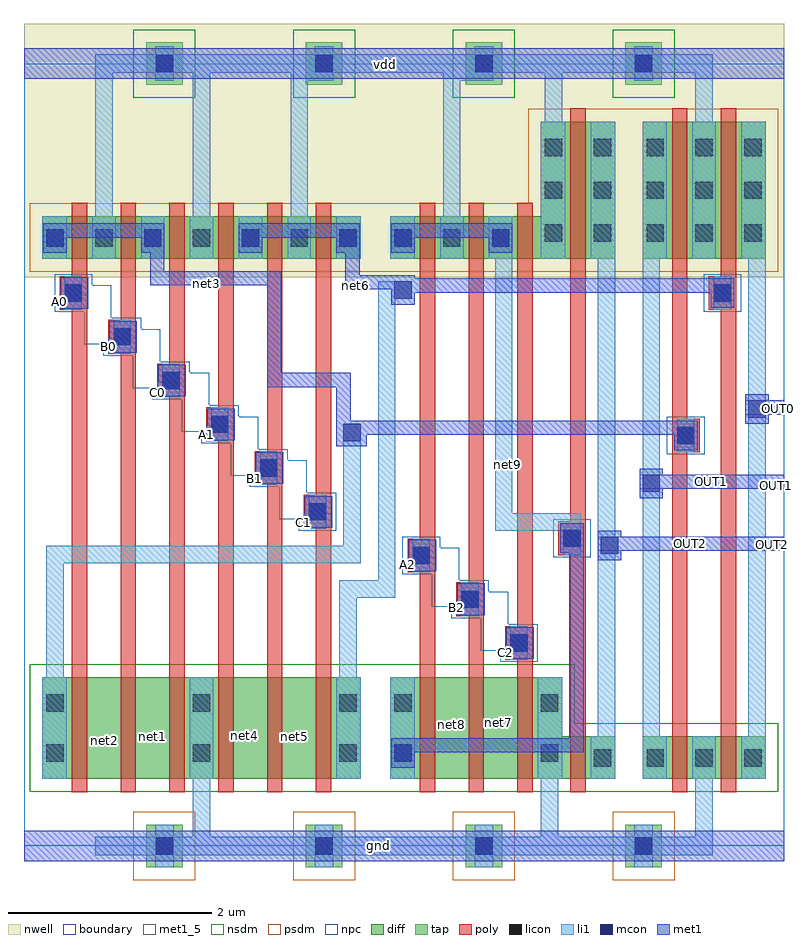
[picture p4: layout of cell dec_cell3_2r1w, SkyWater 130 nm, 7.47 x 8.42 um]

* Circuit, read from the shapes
.subckt dec_cell3_2r1w A0 A1 A2 B0 B1 B2 C0 C1 C2 OUT0 OUT1 OUT2 gnd net1 net2 net3 net4 net5 net6 net7 net8 net9 vdd
XM1 net2 A0 net3 gnd sky130_fd_pr__nfet_01v8 w=1 l=0.15
XM2 net1 B0 net2 gnd sky130_fd_pr__nfet_01v8 w=1 l=0.15
XM3 gnd C0 net1 gnd sky130_fd_pr__nfet_01v8 w=1 l=0.15
XM4 net4 A1 gnd gnd sky130_fd_pr__nfet_01v8 w=1 l=0.15
XM5 net5 B1 net4 gnd sky130_fd_pr__nfet_01v8 w=1 l=0.15
XM6 net6 C1 net5 gnd sky130_fd_pr__nfet_01v8 w=1 l=0.15
XM7 net8 A2 net9 gnd sky130_fd_pr__nfet_01v8 w=1 l=0.15
XM8 net7 B2 net8 gnd sky130_fd_pr__nfet_01v8 w=1 l=0.15
XM9 gnd C2 net7 gnd sky130_fd_pr__nfet_01v8 w=1 l=0.15
XM10 OUT2 net9 gnd gnd sky130_fd_pr__nfet_01v8 w=0.42 l=0.15
XM11 gnd net3 OUT1 gnd sky130_fd_pr__nfet_01v8 w=0.42 l=0.15
XM12 OUT0 net6 gnd gnd sky130_fd_pr__nfet_01v8 w=0.42 l=0.15
XM13 vdd A0 net3 vdd sky130_fd_pr__pfet_01v8 w=0.42 l=0.15
XM14 net3 B0 vdd vdd sky130_fd_pr__pfet_01v8 w=0.42 l=0.15
XM15 vdd C0 net3 vdd sky130_fd_pr__pfet_01v8 w=0.42 l=0.15
XM16 net6 A1 vdd vdd sky130_fd_pr__pfet_01v8 w=0.42 l=0.15
XM17 vdd B1 net6 vdd sky130_fd_pr__pfet_01v8 w=0.42 l=0.15
XM18 net6 C1 vdd vdd sky130_fd_pr__pfet_01v8 w=0.42 l=0.15
XM19 vdd A2 net9 vdd sky130_fd_pr__pfet_01v8 w=0.42 l=0.15
XM20 net9 B2 vdd vdd sky130_fd_pr__pfet_01v8 w=0.42 l=0.15
XM21 vdd C2 net9 vdd sky130_fd_pr__pfet_01v8 w=0.42 l=0.15
XM22 OUT2 net9 vdd vdd sky130_fd_pr__pfet_01v8 w=1.35 l=0.15
XM23 vdd net3 OUT1 vdd sky130_fd_pr__pfet_01v8 w=1.35 l=0.15
XM24 OUT0 net6 vdd vdd sky130_fd_pr__pfet_01v8 w=1.35 l=0.15
.ends

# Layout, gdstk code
import gdstk
lib = gdstk.Library(unit=1e-6, precision=1e-09)
def R(c, l, rs):  # rectangles x0, y0, x1, y1
    for r in rs: c.add(gdstk.rectangle(r[:2], r[2:], *l))
def A(c, l, x, y, w, h, nx, ny, dx, dy):  # array of equal rectangles
    R(c, l, [(x+i*dx, y+j*dy, x+i*dx+w, y+j*dy+h) for i in range(nx) for j in range(ny)])
nwell = (64, 20)
diff = (65, 20)
tap = (65, 44)
poly = (66, 20)
licon = (66, 44)
li1 = (67, 20)
mcon = (67, 44)
met1_5 = (68, 5)
met1 = (68, 20)
nsdm = (93, 44)
psdm = (94, 20)
npc = (95, 20)
boundary = (235, 4)

dec_cell3_2r1w = lib.new_cell('dec_cell3_2r1w')
R(dec_cell3_2r1w, nwell, [(0,5.59,7.47,8.08)])
R(dec_cell3_2r1w, diff, [(0.18,0.66,3.31,1.66), (3.6,0.66,5.81,1.08), (6.08,0.66,7.29,1.08), (3.6,1.08,5.29,1.66), (0.18,5.77,3.31,6.19), (3.6,5.77,5.81,6.19), (6.08,5.77,7.29,7.12), (5.08,6.19,5.81,7.12)])
A(dec_cell3_2r1w, tap, 1.2, -0.21, 0.36, 0.42, 4, 2, 1.57, 7.69)
R(dec_cell3_2r1w, poly, [(0.47,0.53,0.62,5.27), (0.95,0.53,1.1,4.84), (1.43,0.53,1.58,4.41), (1.91,0.53,2.06,3.98), (2.39,0.53,2.54,3.55), (2.87,0.53,3.02,3.12), (3.89,0.53,4.04,2.69), (4.37,0.53,4.52,2.26), (4.85,0.53,5,1.83), (5.37,0.53,5.52,2.86), (6.37,0.53,6.52,3.87), (6.85,0.53,7,5.27), (4.73,1.83,5,2.16), (4.85,2.16,5,6.32), (4.25,2.26,4.52,2.59), (4.37,2.59,4.52,6.32), (3.77,2.69,4.04,3.02), (5.25,2.86,5.52,3.19), (3.89,3.02,4.04,6.32), (2.75,3.12,3.02,3.45), (5.37,3.19,5.52,7.25), (2.87,3.45,3.02,6.32), (2.27,3.55,2.54,3.88), (6.37,3.87,6.64,4.2), (2.39,3.88,2.54,6.32), (1.79,3.98,2.06,4.31), (6.37,4.2,6.52,7.25), (1.91,4.31,2.06,6.32), (1.31,4.41,1.58,4.74), (1.43,4.74,1.58,6.32), (0.83,4.84,1.1,5.17), (0.95,5.17,1.1,6.32), (0.35,5.27,0.62,5.6), (6.73,5.27,7,5.6), (0.47,5.6,0.62,6.32), (6.85,5.6,7,7.25)])
A(dec_cell3_2r1w, licon, 1.295, -0.085, 0.17, 0.17, 4, 2, 1.57, 7.69)
A(dec_cell3_2r1w, licon, 6.12, 0.78, 0.17, 0.17, 3, 2, 0.48, 5.16)
A(dec_cell3_2r1w, licon, 0.22, 0.83, 0.17, 0.17, 3, 2, 1.44, 0.49)
A(dec_cell3_2r1w, licon, 0.22, 5.89, 0.17, 0.17, 7, 1, 0.48, 0)
A(dec_cell3_2r1w, licon, 3.64, 5.89, 0.17, 0.17, 3, 1, 0.48, 0)
A(dec_cell3_2r1w, licon, 5.12, 5.94, 0.17, 0.17, 1, 3, 0, 0.42)
A(dec_cell3_2r1w, licon, 5.6, 5.94, 0.17, 0.17, 1, 3, 0, 0.42)
A(dec_cell3_2r1w, licon, 6.12, 6.36, 0.17, 0.17, 3, 2, 0.48, 0.42)
R(dec_cell3_2r1w, licon, [(5.6,0.78,5.77,0.95), (3.64,0.83,3.81,1), (5.08,0.83,5.25,1), (3.64,1.32,3.81,1.49), (5.08,1.32,5.25,1.49), (4.78,1.91,4.95,2.08), (4.3,2.34,4.47,2.51), (3.82,2.77,3.99,2.94), (5.3,2.94,5.47,3.11), (2.8,3.2,2.97,3.37), (2.32,3.63,2.49,3.8), (6.42,3.95,6.59,4.12), (1.84,4.06,2.01,4.23), (1.36,4.49,1.53,4.66), (0.88,4.92,1.05,5.09), (0.4,5.35,0.57,5.52), (6.78,5.35,6.95,5.52)])
A(dec_cell3_2r1w, li1, 1.29, -0.21, 0.18, 0.12, 4, 2, 1.57, 0.3)
A(dec_cell3_2r1w, li1, 0.67, 5.77, 0.23, 0.42, 5, 1, 0.48, 0)
A(dec_cell3_2r1w, li1, 1.29, 7.78, 0.18, 0.08, 4, 1, 1.57, 0)
R(dec_cell3_2r1w, li1, [(0.7,-0.09,6.77,0.09), (1.66,0.09,1.83,0.66), (5.08,0.09,5.25,0.66), (6.6,0.09,6.77,0.66), (0.18,0.66,0.42,1.66), (1.63,0.66,1.86,1.66), (3.07,0.66,3.31,1.66), (3.6,0.66,3.84,1.66), (5.05,0.66,5.29,1.66), (5.57,0.66,5.81,1.08), (6.08,0.66,6.32,1.08), (6.57,0.66,6.8,1.08), (7.05,0.66,7.29,1.08), (5.64,1.08,5.81,2.87), (6.08,1.08,6.25,5.77), (7.12,1.08,7.29,5.77), (0.22,1.66,0.39,2.78), (3.1,1.66,3.27,2.44), (4.78,1.83,4.95,2.16), (4.3,2.26,4.47,2.59), (3.1,2.44,3.65,2.61), (3.48,2.61,3.65,5.38), (3.82,2.69,3.99,3.02), (0.22,2.78,3.31,2.95), (5.3,2.86,5.47,3.1), (5.64,2.87,5.84,3.04), (3.14,2.95,3.31,4.15), (5.64,3.04,5.81,5.77), (4.63,3.1,5.47,3.27), (2.8,3.12,2.97,3.45), (4.63,3.27,4.8,5.77), (2.32,3.55,2.49,3.88), (6.42,3.87,6.59,4.2), (1.84,3.98,2.01,4.31), (1.36,4.41,1.53,4.74), (0.88,4.84,1.05,5.17), (0.4,5.27,0.57,5.6), (6.78,5.27,6.95,5.6), (3.48,5.38,3.81,5.55), (0.18,5.77,0.42,6.19), (3.07,5.77,3.31,6.19), (3.6,5.77,3.84,6.19), (4.09,5.77,4.32,6.19), (4.57,5.77,4.8,6.19), (5.08,5.77,5.32,7.12), (5.57,5.77,5.81,7.12), (6.08,5.77,6.32,7.12), (6.57,5.77,6.8,7.12), (7.05,5.77,7.29,7.12), (0.7,6.19,0.87,7.6), (1.66,6.19,1.83,7.6), (2.62,6.19,2.79,7.52), (4.12,6.19,4.29,7.52), (5.12,7.12,5.29,7.6), (6.6,7.12,6.77,7.6), (1.29,7.52,1.47,7.6), (2.62,7.52,3.04,7.6), (4.12,7.52,4.61,7.6), (6,7.52,6.18,7.6), (0.7,7.6,6.77,7.78)])
A(dec_cell3_2r1w, mcon, 1.295, -0.085, 0.17, 0.17, 4, 2, 1.57, 7.69)
A(dec_cell3_2r1w, mcon, 0.22, 5.89, 0.17, 0.17, 4, 1, 0.96, 0)
R(dec_cell3_2r1w, mcon, [(3.64,0.83,3.81,1), (4.78,1.91,4.95,2.08), (4.3,2.34,4.47,2.51), (3.82,2.77,3.99,2.94), (5.67,2.87,5.84,3.04), (5.3,2.94,5.47,3.11), (2.8,3.2,2.97,3.37), (6.08,3.48,6.25,3.65), (2.32,3.63,2.49,3.8), (6.42,3.95,6.59,4.12), (3.14,3.98,3.31,4.15), (1.84,4.06,2.01,4.23), (7.12,4.21,7.29,4.38), (1.36,4.49,1.53,4.66), (0.88,4.92,1.05,5.09), (0.4,5.35,0.57,5.52), (6.78,5.35,6.95,5.52), (3.64,5.38,3.81,5.55), (3.64,5.89,3.81,6.06), (4.6,5.89,4.77,6.06)])
R(dec_cell3_2r1w, met1_5, [(0,-0.15,7.47,0.15), (4.73,1.84,5.01,1.98), (4.25,2.27,4.53,2.41), (3.77,2.7,4.05,2.84), (5.64,2.9,7.47,3.04), (2.75,3.13,3.03,3.27), (6.05,3.51,7.47,3.65), (2.27,3.56,2.55,3.7), (1.79,3.99,2.07,4.13), (7.09,4.24,7.47,4.38), (1.31,4.42,1.59,4.56), (0.83,4.85,1.11,4.99), (0.35,5.28,0.63,5.42), (0,7.54,7.47,7.84)])
A(dec_cell3_2r1w, met1, 0.19, 5.83, 0.23, 0.15, 4, 1, 0.96, 0)
R(dec_cell3_2r1w, met1, [(0,-0.15,7.47,0.15), (0,-0.15,7.47,0.15), (3.61,0.77,3.84,0.92), (3.61,0.92,5.5,1.06), (5.36,1.06,5.5,2.88), (4.73,1.84,5.01,1.98), (4.73,1.84,5.01,1.98), (4.74,1.98,5.01,2.15), (4.25,2.27,4.53,2.41), (4.25,2.27,4.53,2.41), (4.26,2.41,4.53,2.58), (3.77,2.7,4.05,2.84), (3.77,2.7,4.05,2.84), (5.64,2.81,5.87,2.9), (3.78,2.84,4.05,3.01), (5.27,2.88,5.5,3.17), (5.64,2.9,7.47,3.04), (5.64,2.9,7.47,3.04), (5.64,3.04,5.87,3.1), (2.75,3.13,3.03,3.27), (2.75,3.13,3.03,3.27), (2.76,3.27,3.03,3.44), (6.05,3.42,6.28,3.51), (6.05,3.51,7.47,3.65), (6.05,3.51,7.47,3.65), (2.27,3.56,2.55,3.7), (2.27,3.56,2.55,3.7), (6.05,3.65,6.28,3.71), (2.28,3.7,2.55,3.87), (6.39,3.89,6.62,4.04), (3.07,3.93,3.37,4.04), (1.79,3.99,2.07,4.13), (1.79,3.99,2.07,4.13), (3.07,4.04,6.62,4.18), (1.8,4.13,2.07,4.3), (7.09,4.15,7.32,4.24), (3.07,4.18,3.21,4.51), (7.09,4.24,7.47,4.38), (7.09,4.24,7.47,4.38), (7.09,4.38,7.32,4.44), (1.31,4.42,1.59,4.56), (1.31,4.42,1.59,4.56), (2.39,4.51,3.21,4.65), (1.32,4.56,1.59,4.73), (2.39,4.65,2.53,5.51), (0.83,4.85,1.11,4.99), (0.83,4.85,1.11,4.99), (0.84,4.99,1.11,5.16), (0.35,5.28,0.63,5.42), (0.35,5.28,0.63,5.42), (6.75,5.29,6.98,5.44), (3.61,5.32,3.84,5.44), (0.36,5.42,0.63,5.59), (3.61,5.44,6.98,5.47), (3.16,5.47,6.98,5.58), (1.24,5.51,2.53,5.65), (3.16,5.58,3.84,5.61), (3.16,5.61,3.3,5.83), (1.24,5.65,1.38,5.83), (3.61,5.83,3.84,5.98), (4.57,5.83,4.8,5.98), (0.19,5.98,1.38,6.12), (2.11,5.98,3.3,6.12), (3.61,5.98,4.8,6.12), (0,7.54,7.47,7.84), (0,7.54,7.47,7.84)])
A(dec_cell3_2r1w, nsdm, 1.075, 7.355, 0.61, 0.67, 4, 1, 1.57, 0)
R(dec_cell3_2r1w, nsdm, [(0.055,0.535,7.415,1.205), (0.055,1.205,5.415,1.785)])
A(dec_cell3_2r1w, psdm, 1.075, -0.335, 0.61, 0.67, 4, 1, 1.57, 0)
R(dec_cell3_2r1w, psdm, [(0.055,5.645,7.415,6.315), (4.955,6.315,7.415,7.245)])
R(dec_cell3_2r1w, npc, [(4.68,1.81,5.05,1.92), (4.49,1.92,5.05,2.18), (4.49,2.18,4.76,2.24), (4.2,2.24,4.76,2.35), (4.01,2.35,4.76,2.5), (4.01,2.5,4.57,2.61), (4.01,2.61,4.28,2.67), (3.72,2.67,4.28,2.93), (5.2,2.84,5.57,3.21), (3.72,2.93,4.09,3.04), (2.7,3.1,3.07,3.21), (2.51,3.21,3.07,3.47), (2.51,3.47,2.78,3.53), (2.22,3.53,2.78,3.64), (2.03,3.64,2.78,3.79), (2.03,3.79,2.59,3.9), (6.32,3.85,6.69,4.22), (2.03,3.9,2.3,3.96), (1.74,3.96,2.3,4.07), (1.55,4.07,2.3,4.22), (1.55,4.22,2.11,4.33), (1.55,4.33,1.82,4.39), (1.26,4.39,1.82,4.5), (1.07,4.5,1.82,4.65), (1.07,4.65,1.63,4.76), (1.07,4.76,1.34,4.82), (0.78,4.82,1.34,4.93), (0.59,4.93,1.34,5.08), (0.59,5.08,1.15,5.19), (0.59,5.19,0.86,5.25), (0.3,5.25,0.86,5.51), (6.68,5.25,7.05,5.62), (0.3,5.51,0.67,5.62)])
R(dec_cell3_2r1w, boundary, [(0,0,7.47,7.69)])
dec_cell3_2r1w.add(gdstk.Label('net9', (4.75,3.75), layer=67, texttype=16))
dec_cell3_2r1w.add(gdstk.Label('net6', (3.26,5.51), layer=68, texttype=16))
dec_cell3_2r1w.add(gdstk.Label('net3', (1.79,5.53), layer=68, texttype=16))
dec_cell3_2r1w.add(gdstk.Label('net4', (2.17,1.09), layer=65, texttype=20))
dec_cell3_2r1w.add(gdstk.Label('net5', (2.66,1.08), layer=65, texttype=20))
dec_cell3_2r1w.add(gdstk.Label('net1', (1.26,1.08), layer=65, texttype=20))
dec_cell3_2r1w.add(gdstk.Label('net2', (0.79,1.04), layer=65, texttype=20))
dec_cell3_2r1w.add(gdstk.Label('net7', (4.66,1.21), layer=65, texttype=20))
dec_cell3_2r1w.add(gdstk.Label('net8', (4.2,1.19), layer=65, texttype=20))
dec_cell3_2r1w.add(gdstk.Label('A0', (0.35,5.35), layer=68, texttype=5))
dec_cell3_2r1w.add(gdstk.Label('B0', (0.83,4.91), layer=68, texttype=5))
dec_cell3_2r1w.add(gdstk.Label('C0', (1.31,4.46), layer=68, texttype=5))
dec_cell3_2r1w.add(gdstk.Label('A1', (1.79,4.04), layer=68, texttype=5))
dec_cell3_2r1w.add(gdstk.Label('B1', (2.27,3.61), layer=68, texttype=5))
dec_cell3_2r1w.add(gdstk.Label('C1', (2.75,3.18), layer=68, texttype=5))
dec_cell3_2r1w.add(gdstk.Label('A2', (3.77,2.77), layer=68, texttype=5))
dec_cell3_2r1w.add(gdstk.Label('B2', (4.25,2.34), layer=68, texttype=5))
dec_cell3_2r1w.add(gdstk.Label('C2', (4.73,1.9), layer=68, texttype=5))
dec_cell3_2r1w.add(gdstk.Label('OUT2', (7.36,2.96), layer=68, texttype=5))
dec_cell3_2r1w.add(gdstk.Label('vdd', (3.55,7.68), layer=68, texttype=5))
dec_cell3_2r1w.add(gdstk.Label('gnd', (3.48,0), layer=68, texttype=5))
dec_cell3_2r1w.add(gdstk.Label('OUT0', (7.42,4.3), layer=68, texttype=5))
dec_cell3_2r1w.add(gdstk.Label('OUT1', (7.4,3.54), layer=68, texttype=5))
dec_cell3_2r1w.add(gdstk.Label('A0', (0.49,5.35), layer=68, texttype=20))
dec_cell3_2r1w.add(gdstk.Label('B0', (0.97,4.92), layer=68, texttype=20))
dec_cell3_2r1w.add(gdstk.Label('C0', (1.45,4.49), layer=68, texttype=20))
dec_cell3_2r1w.add(gdstk.Label('A1', (1.93,4.06), layer=68, texttype=20))
dec_cell3_2r1w.add(gdstk.Label('B1', (2.41,3.63), layer=68, texttype=20))
dec_cell3_2r1w.add(gdstk.Label('C1', (2.89,3.2), layer=68, texttype=20))
dec_cell3_2r1w.add(gdstk.Label('A2', (3.91,2.77), layer=68, texttype=20))
dec_cell3_2r1w.add(gdstk.Label('B2', (4.39,2.34), layer=68, texttype=20))
dec_cell3_2r1w.add(gdstk.Label('C2', (4.87,1.91), layer=68, texttype=20))
dec_cell3_2r1w.add(gdstk.Label('OUT0', (7.28,4.31), layer=68, texttype=20))
dec_cell3_2r1w.add(gdstk.Label('OUT1', (6.76,3.58), layer=68, texttype=20))
dec_cell3_2r1w.add(gdstk.Label('OUT2', (6.555,2.97), layer=68, texttype=20))
dec_cell3_2r1w.add(gdstk.Label('vdd', (3.735,7.69), layer=68, texttype=20))
dec_cell3_2r1w.add(gdstk.Label('gnd', (3.735,0), layer=68, texttype=20))

lib.write_gds('dec_cell3_2r1w.gds')
